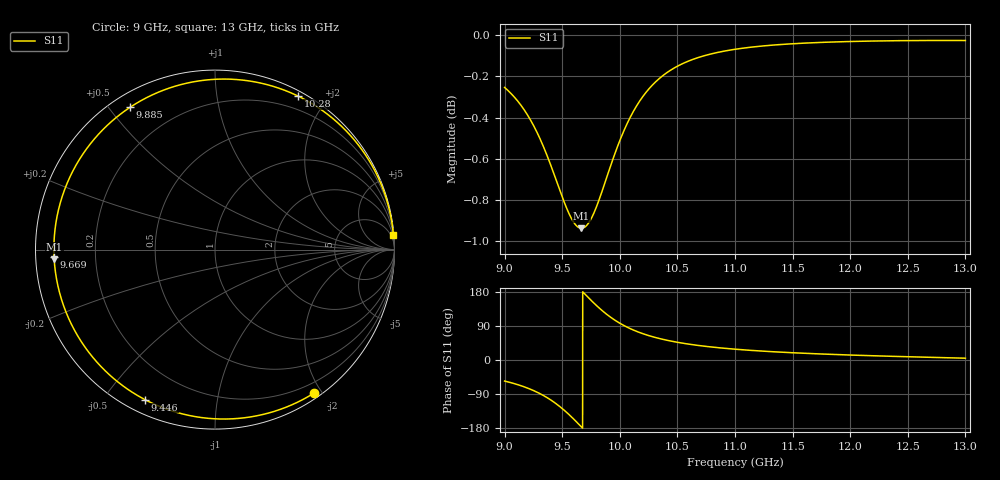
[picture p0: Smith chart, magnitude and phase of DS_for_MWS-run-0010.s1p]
! TOUCHSTONE file generated by CST DESIGN STUDIO
! Date and time: Tue Feb  4 18:20:26 2025
! Project name: C:\Work\MatlabApps\UnitCellOptimizationMatlab\CST\unitcell.cst
! Tree item: Tasks\Sweep1\SPara1\S-Parameters
! Header version: 2024
! Port assignment regex: !\s*Touchstone port\s*([0-9]+)\s*=\s*(CST MWS port|CST DES external port|CST DES block port)\s*(.+)\s* \(\"(.*)\"\)(\s*mode\s*([0-9]+))?.*
! Touchstone port assignment:
! Touchstone port 1 = CST DES external port 1 ("")
# GHz S MA R 50
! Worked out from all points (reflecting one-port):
!   4001 points, 9 GHz to 13 GHz, reference 50 ohm
!   lowest |S11| = -0.9 dB at 9.667 GHz (marker M1), VSWR 18.53, Z = 2.7 - j1.47 ohm
!   phase of S11 starts at -56 deg and turns -300 deg over the sweep
!   S11 on the Smith chart (normalised r, x): 9 GHz: 0.07, -1.90; 9.446 GHz: 0.06, -0.63; 9.669 GHz: 0.05, -0.02; 9.885 GHz: 0.05, +0.57; 10.28 GHz: 0.05, +1.68; 13 GHz: 1, +24
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9  0.9712 -55.5
9.116  0.9637 -65.3
9.229  0.9532 -77.8
9.35  0.9377 -95.9
9.446  0.9224 -115.1
9.5  0.9136 -128.0
9.545  0.9069 -140.0
9.592  0.9013 -153.6
9.63  0.8985 -165.1
9.667  0.8976 -176.6
9.669  0.8976 -177.2
9.715  0.8992 168.4
9.763  0.9038 153.8
9.825  0.9128 136.1
9.885  0.9233 120.9
9.94  0.933 108.6
10  0.9427 97.1
10.062  0.9516 86.9
10.136  0.9602 76.8
10.282  0.9725 61.6
10.384  0.9782 53.8
10.5  0.9828 46.7
10.719  0.9884 37.0
11  0.9922 28.5
11.5  0.9953 19.1
12  0.9965 13.1
12.5  0.997 8.6
13  0.9971 4.8
